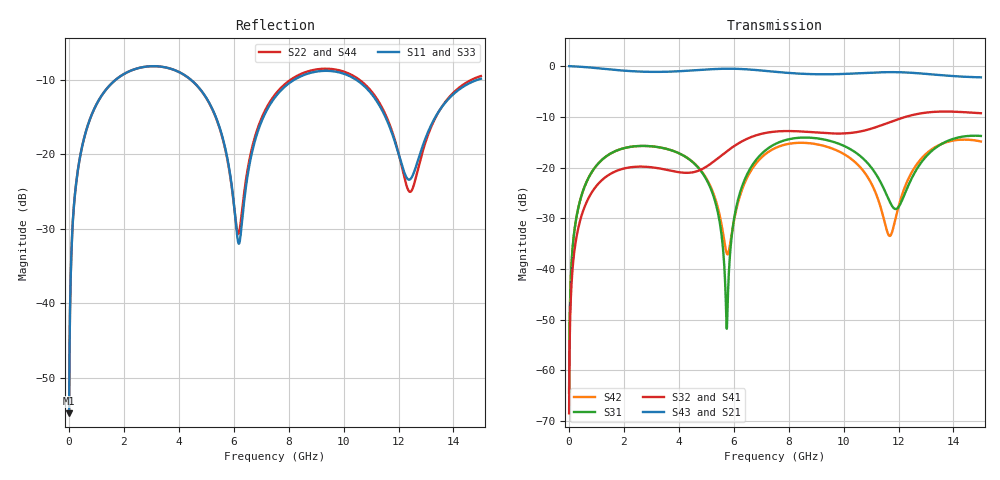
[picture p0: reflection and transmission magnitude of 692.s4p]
! Created with skrf 1.8.0 (http://scikit-rf.org).
# GHz S RI R 50.0
!freq ReS11 ImS11 ReS12 ImS12 ReS13 ImS13
! ReS14 ImS14
! ReS21 ImS21 ReS22 ImS22 ReS23 ImS23
! ReS24 ImS24
! ReS31 ImS31 ReS32 ImS32 ReS33 ImS33
! ReS34 ImS34
! ReS41 ImS41 ReS42 ImS42 ReS43 ImS43
! ReS44 ImS44
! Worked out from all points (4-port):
!   2499 points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, 5 MHz to 15 GHz, reference 50 ohm
!   strongest paths, dB at 5 MHz, 3.476 GHz, 7.19 GHz, 11.1 GHz, 15 GHz:
!     S43: 0.0, -1.1, -1.0, -1.3, -2.2
!     S21: 0.0, -1.1, -1.0, -1.3, -2.2
!     S32: -68.5, -20.4, -13.1, -12.2, -9.3
!     S41: -68.5, -20.4, -13.1, -12.2, -9.3
!     S31: -64.4, -16.2, -16.5, -20.6, -13.8
!     S42: -64.4, -16.2, -17.2, -24.1, -14.9
!   lowest |S11| = -54.8 dB at 5 MHz (marker M1), VSWR 1.00, Z = 50.1 + j0.11 ohm
!   |S11| at or under -10 dB: start of sweep to 1.697 GHz; 4.443 GHz to 8.199 GHz (3.756 GHz wide, 59.4 % of centre); 10.46 GHz to 14.87 GHz (4.41 GHz wide, 34.8 % of centre)
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0.005  0.00145 0.0011  0.9985 -0.00283  7.32e-05 0.000598  -7.1e-05 -0.000371
       0.9985 -0.00283  0.00145 0.0011  -7.1e-05 -0.000371  7.32e-05 0.000598
       7.32e-05 0.000598  -7.1e-05 -0.000371  0.00145 0.0011  0.9985 -0.00283
       -7.1e-05 -0.000371  7.32e-05 0.000598  0.9985 -0.00283  0.00145 0.0011
0.3126303  0.0196 0.0731  0.9733 -0.1767  0.00914 0.036  -0.00757 -0.0222
           0.9733 -0.1767  0.0196 0.0731  -0.00757 -0.0222  0.0091 0.036
           0.00914 0.036  -0.00757 -0.0222  0.0196 0.0731  0.9733 -0.1767
           -0.00757 -0.0222  0.0091 0.036  0.9733 -0.1767  0.0196 0.0731
1.569404  0.236 0.1873  0.6185 -0.6854  0.1197 0.0728  -0.0866 -0.0175
          0.6185 -0.6854  0.2361 0.1872  -0.0866 -0.0174  0.1192 0.0732
          0.1197 0.0728  -0.0866 -0.0174  0.2359 0.1873  0.6185 -0.6854
          -0.0866 -0.0175  0.1192 0.0732  0.6185 -0.6854  0.2362 0.1872
5.746144  0.0441 -0.088  -0.8986 -0.284  0.00258 2.92e-05  -0.04 0.1389
          -0.8986 -0.284  0.0465 -0.0847  -0.0382 0.1394  -0.0135 -0.00445
          0.00258 2.92e-05  -0.0382 0.1394  0.0463 -0.0878  -0.8985 -0.2843
          -0.04 0.1389  -0.0135 -0.00445  -0.8985 -0.2843  0.0445 -0.0858
6.709045  0.0584 0.0948  -0.8985 0.196  0.0655 0.0869  0.0583 0.1949
          -0.8985 0.196  0.066 0.0988  0.0606 0.194  0.0389 0.093
          0.0655 0.0869  0.0606 0.194  0.061 0.0933  -0.8986 0.1957
          0.0583 0.1949  0.0389 0.093  -0.8986 0.1957  0.063 0.0991
9.654023  0.3584 -0.0358  0.0241 0.8314  0.1378 -0.1131  0.2051 -0.068
          0.0241 0.8314  0.3681 -0.0549  0.2044 -0.0714  0.1354 -0.0679
          0.1378 -0.1131  0.2044 -0.0714  0.3574 -0.038  0.0241 0.8317
          0.2051 -0.068  0.1354 -0.0679  0.0241 0.8317  0.3681 -0.0525
15  0.3122 0.0778  0.347 -0.6904  0.191 -0.0742  -0.3301 -0.0949
    0.347 -0.6904  0.3282 0.0689  -0.3322 -0.0868  0.1753 -0.0441
    0.191 -0.0742  -0.3322 -0.0868  0.308 0.0685  0.3483 -0.6923
    -0.3301 -0.0949  0.1753 -0.0441  0.3483 -0.6923  0.3209 0.074
